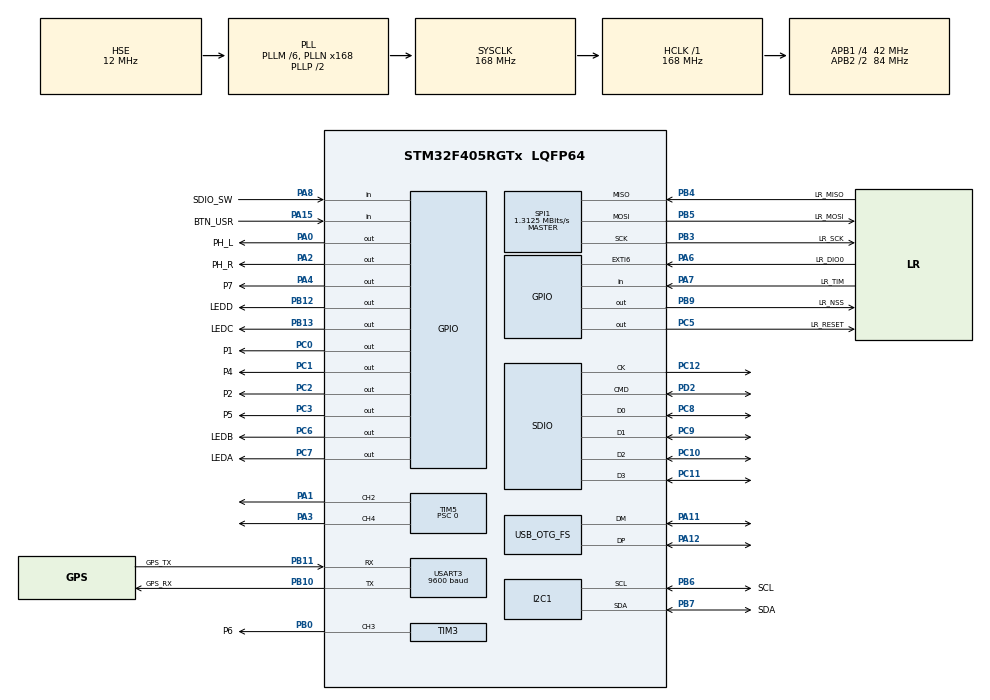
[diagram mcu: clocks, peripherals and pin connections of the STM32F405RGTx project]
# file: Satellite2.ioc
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Dma.Request0=SPI1_RX
Dma.Request1=SPI1_TX
Dma.Request2=SDIO_RX
Dma.Request3=SDIO_TX
Dma.SDIO_RX.2.Direction=DMA_PERIPH_TO_MEMORY
Dma.SDIO_RX.2.FIFOMode=DMA_FIFOMODE_ENABLE
Dma.SDIO_RX.2.FIFOThreshold=DMA_FIFO_THRESHOLD_FULL
Dma.SDIO_RX.2.Instance=DMA2_Stream3
Dma.SDIO_RX.2.MemBurst=DMA_MBURST_INC4
Dma.SDIO_RX.2.MemDataAlignment=DMA_MDATAALIGN_WORD
Dma.SDIO_RX.2.MemInc=DMA_MINC_ENABLE
Dma.SDIO_RX.2.Mode=DMA_PFCTRL
Dma.SDIO_RX.2.PeriphBurst=DMA_PBURST_INC4
Dma.SDIO_RX.2.PeriphDataAlignment=DMA_PDATAALIGN_WORD
Dma.SDIO_RX.2.PeriphInc=DMA_PINC_DISABLE
Dma.SDIO_RX.2.Priority=DMA_PRIORITY_LOW
Dma.SDIO_TX.3.Direction=DMA_MEMORY_TO_PERIPH
Dma.SDIO_TX.3.FIFOMode=DMA_FIFOMODE_ENABLE
Dma.SDIO_TX.3.FIFOThreshold=DMA_FIFO_THRESHOLD_FULL
Dma.SDIO_TX.3.Instance=DMA2_Stream6
Dma.SDIO_TX.3.MemBurst=DMA_MBURST_INC4
Dma.SDIO_TX.3.MemDataAlignment=DMA_MDATAALIGN_WORD
Dma.SDIO_TX.3.MemInc=DMA_MINC_ENABLE
Dma.SDIO_TX.3.Mode=DMA_PFCTRL
Dma.SDIO_TX.3.PeriphBurst=DMA_PBURST_INC4
Dma.SDIO_TX.3.PeriphDataAlignment=DMA_PDATAALIGN_WORD
Dma.SDIO_TX.3.PeriphInc=DMA_PINC_DISABLE
Dma.SDIO_TX.3.Priority=DMA_PRIORITY_LOW
Dma.SPI1_RX.0.Direction=DMA_PERIPH_TO_MEMORY
Dma.SPI1_RX.0.FIFOMode=DMA_FIFOMODE_DISABLE
Dma.SPI1_RX.0.Instance=DMA2_Stream0
Dma.SPI1_RX.0.MemDataAlignment=DMA_MDATAALIGN_BYTE
Dma.SPI1_RX.0.MemInc=DMA_MINC_ENABLE
Dma.SPI1_RX.0.Mode=DMA_NORMAL
Dma.SPI1_RX.0.PeriphDataAlignment=DMA_PDATAALIGN_BYTE
Dma.SPI1_RX.0.PeriphInc=DMA_PINC_DISABLE
Dma.SPI1_RX.0.Priority=DMA_PRIORITY_LOW
Dma.SPI1_TX.1.Direction=DMA_MEMORY_TO_PERIPH
Dma.SPI1_TX.1.FIFOMode=DMA_FIFOMODE_DISABLE
Dma.SPI1_TX.1.Instance=DMA2_Stream5
Dma.SPI1_TX.1.MemDataAlignment=DMA_MDATAALIGN_BYTE
Dma.SPI1_TX.1.MemInc=DMA_MINC_ENABLE
Dma.SPI1_TX.1.Mode=DMA_NORMAL
Dma.SPI1_TX.1.PeriphDataAlignment=DMA_PDATAALIGN_BYTE
Dma.SPI1_TX.1.PeriphInc=DMA_PINC_DISABLE
Dma.SPI1_TX.1.Priority=DMA_PRIORITY_LOW
FATFS.BSP.number=1
FATFS.USE_DMA_CODE_SD=1
FATFS._MAX_SS=4096
FATFS._MIN_SS=512
FATFS._USE_MKFS=1
FATFS0.BSP.STBoard=false
FATFS0.BSP.api=Unknown
FATFS0.BSP.i2caddr=0
FATFS0.BSP.instance=PA8
FATFS0.BSP.ip=GPIO
FATFS0.BSP.mode=Input
FATFS0.BSP.name=Detect_SDIO
FATFS0.BSP.solution=PA8
I2C1.I2C_Mode=I2C_Fast
Mcu.Family=STM32F4
Mcu.Name=STM32F405RGTx
Mcu.Package=LQFP64
NVIC.DMA2_Stream0_IRQn=true\:0\:0\:false\:false\:true\:false\:true
NVIC.DMA2_Stream3_IRQn=true\:0\:0\:false\:false\:true\:false\:true
NVIC.DMA2_Stream5_IRQn=true\:0\:0\:false\:false\:true\:false\:true
NVIC.DMA2_Stream6_IRQn=true\:0\:0\:false\:false\:true\:false\:true
NVIC.EXTI9_5_IRQn=true\:0\:0\:false\:false\:true\:true\:true
NVIC.OTG_FS_IRQn=true\:0\:0\:false\:false\:true\:false\:true
NVIC.PriorityGroup=NVIC_PRIORITYGROUP_4
NVIC.SDIO_IRQn=true\:0\:0\:false\:false\:true\:true\:true
NVIC.SPI1_IRQn=true\:0\:0\:false\:false\:true\:true\:true
PA0-WKUP.GPIO_Label=PH_L
PA0-WKUP.GPIO_PuPd=GPIO_NOPULL
PA0-WKUP.Signal=GPIO_Output
PA1.Signal=S_TIM5_CH2
PA11.Mode=Device_Only
PA11.Signal=USB_OTG_FS_DM
PA12.Mode=Device_Only
PA12.Signal=USB_OTG_FS_DP
PA13.Mode=Serial_Wire
PA13.Signal=SYS_JTMS-SWDIO
PA14.Mode=Serial_Wire
PA14.Signal=SYS_JTCK-SWCLK
PA15.GPIO_Label=BTN_USR
PA15.GPIO_PuPd=GPIO_PULLUP
PA15.Signal=GPIO_Input
PA2.GPIO_Label=PH_R
PA2.GPIO_PuPd=GPIO_NOPULL
PA2.Signal=GPIO_Output
PA3.Signal=S_TIM5_CH4
PA4.GPIO_Label=P7
PA4.Signal=GPIO_Output
PA6.GPIO_Label=LR_DIO0
PA6.GPIO_ModeDefaultEXTI=GPIO_MODE_IT_RISING
PA6.GPIO_PuPd=GPIO_PULLDOWN
PA6.Signal=GPXTI6
PA7.GPIO_Label=LR_TIM
PA7.Signal=GPIO_Input
PA8.GPIO_Label=SDIO_SW
PA8.Signal=GPIO_Input
PB0.GPIO_Label=P6
PB0.Signal=S_TIM3_CH3
PB1.GPIO_Label=P3
PB1.Signal=S_TIM3_CH4
PB10.GPIO_Label=GPS_RX
PB10.Mode=Asynchronous
PB10.Signal=USART3_TX
PB11.GPIO_Label=GPS_TX
PB11.Mode=Asynchronous
PB11.Signal=USART3_RX
PB12.GPIO_Label=LEDD
PB12.GPIO_PuPd=GPIO_PULLDOWN
PB12.Signal=GPIO_Output
PB13.GPIO_Label=LEDC
PB13.GPIO_PuPd=GPIO_PULLDOWN
PB13.Signal=GPIO_Output
PB3.GPIO_Label=LR_SCK
PB3.Mode=Full_Duplex_Master
PB3.Signal=SPI1_SCK
PB4.GPIO_Label=LR_MISO
PB4.Mode=Full_Duplex_Master
PB4.Signal=SPI1_MISO
PB5.GPIO_Label=LR_MOSI
PB5.GPIO_PuPd=GPIO_NOPULL
PB5.Mode=Full_Duplex_Master
PB5.Signal=SPI1_MOSI
PB6.GPIO_Label=SCL
PB6.GPIO_PuPdOD=GPIO_NOPULL
PB6.Mode=I2C
PB6.Signal=I2C1_SCL
PB7.GPIO_Label=SDA
PB7.GPIO_PuPdOD=GPIO_NOPULL
PB7.Mode=I2C
PB7.Signal=I2C1_SDA
PB9.GPIO_Label=LR_NSS
PB9.Signal=GPIO_Output
PC0.GPIO_Label=P1
PC0.Signal=GPIO_Output
PC1.GPIO_Label=P4
PC1.Signal=GPIO_Output
PC10.GPIO_PuPd=GPIO_PULLUP
PC10.Mode=SD_4_bits_Wide_bus
PC10.Signal=SDIO_D2
PC11.Mode=SD_4_bits_Wide_bus
PC11.Signal=SDIO_D3
PC12.GPIO_PuPd=GPIO_NOPULL
PC12.Mode=SD_4_bits_Wide_bus
PC12.Signal=SDIO_CK
PC14-OSC32_IN.Mode=LSE-External-Oscillator
PC14-OSC32_IN.Signal=RCC_OSC32_IN
PC15-OSC32_OUT.Mode=LSE-External-Oscillator
PC15-OSC32_OUT.Signal=RCC_OSC32_OUT
PC2.GPIO_Label=P2
PC2.Signal=GPIO_Output
PC3.GPIO_Label=P5
PC3.Signal=GPIO_Output
PC5.GPIO_Label=LR_RESET
PC5.Signal=GPIO_Output
PC6.GPIO_Label=LEDB
PC6.GPIO_PuPd=GPIO_PULLDOWN
PC6.Signal=GPIO_Output
PC7.GPIO_Label=LEDA
PC7.Signal=GPIO_Output
PC8.GPIO_PuPd=GPIO_PULLUP
PC8.Mode=SD_4_bits_Wide_bus
PC8.Signal=SDIO_D0
PC9.GPIO_PuPd=GPIO_PULLUP
PC9.Mode=SD_4_bits_Wide_bus
PC9.Signal=SDIO_D1
PD2.GPIO_PuPd=GPIO_PULLUP
PD2.Mode=SD_4_bits_Wide_bus
PD2.Signal=SDIO_CMD
PH0-OSC_IN.Mode=HSE-External-Oscillator
PH0-OSC_IN.Signal=RCC_OSC_IN
PH1-OSC_OUT.Mode=HSE-External-Oscillator
PH1-OSC_OUT.Signal=RCC_OSC_OUT
ProjectManager.HeapSize=0x200
ProjectManager.StackSize=0x400
ProjectManager.TargetToolchain=STM32CubeIDE
RCC.48MHZClocksFreq_Value=48000000
RCC.AHBFreq_Value=168000000
RCC.APB1CLKDivider=RCC_HCLK_DIV4
RCC.APB1Freq_Value=42000000
RCC.APB1TimFreq_Value=84000000
RCC.APB2CLKDivider=RCC_HCLK_DIV2
RCC.APB2Freq_Value=84000000
RCC.APB2TimFreq_Value=168000000
RCC.CortexFreq_Value=168000000
RCC.HCLKFreq_Value=168000000
RCC.HSE_VALUE=12000000
RCC.HSI_VALUE=16000000
RCC.PLLM=6
RCC.PLLN=168
RCC.PLLQ=7
RCC.RCC_RTC_Clock_Source=RCC_RTCCLKSOURCE_LSE
RCC.RCC_RTC_Clock_SourceVirtual=RCC_RTCCLKSOURCE_LSE
RCC.SYSCLKFreq_VALUE=168000000
RCC.SYSCLKSource=RCC_SYSCLKSOURCE_PLLCLK
RCC.VCOOutputFreq_Value=336000000
SH.S_TIM3_CH3.0=TIM3_CH3,PWM Generation3 CH3
SH.S_TIM3_CH4.0=TIM3_CH4
SH.S_TIM5_CH2.0=TIM5_CH2,PWM Generation2 CH2
SH.S_TIM5_CH4.0=TIM5_CH4,PWM Generation4 CH4
SPI1.BaudRatePrescaler=SPI_BAUDRATEPRESCALER_64
SPI1.CalculateBaudRate=1.3125 MBits/s
SPI1.Direction=SPI_DIRECTION_2LINES
SPI1.Mode=SPI_MODE_MASTER
SPI1.VirtualType=VM_MASTER
TIM1.Period=65535
TIM1.Prescaler=16799
TIM2.ClockDivision=TIM_CLOCKDIVISION_DIV1
TIM2.CounterMode=TIM_COUNTERMODE_UP
TIM2.Period=4200000000
TIM2.Prescaler=83
TIM3.Channel-PWM\ Generation3\ CH3=TIM_CHANNEL_3
TIM3.Period=10000
TIM3.Prescaler=167
TIM3.Pulse-PWM\ Generation3\ CH3=0
TIM4.Period=1024
TIM4.Prescaler=0
TIM5.Channel-PWM\ Generation2\ CH2=TIM_CHANNEL_2
TIM5.Channel-PWM\ Generation4\ CH4=TIM_CHANNEL_4
TIM5.CounterMode=TIM_COUNTERMODE_CENTERALIGNED2
TIM5.OCMode_PWM-PWM\ Generation2\ CH2=TIM_OCMODE_PWM2
TIM5.OCMode_PWM-PWM\ Generation4\ CH4=TIM_OCMODE_PWM2
TIM5.Period=1024
TIM5.Prescaler=0
USART3.BaudRate=9600
USART3.VirtualMode=VM_ASYNC
USB_DEVICE.CLASS_NAME_FS=CDC
USB_DEVICE.PRODUCT_STRING_CDC_FS=Czopolot1
USB_DEVICE.VirtualMode-CDC_FS=Cdc
USB_DEVICE.VirtualModeFS=Cdc_FS
USB_OTG_FS.VirtualMode=Device_Only
VP_FATFS_VS_SDIO.Mode=SDIO
VP_RTC_VS_RTC_Activate.Mode=RTC_Enabled
VP_TIM1_VS_ClockSourceINT.Mode=Internal
VP_TIM2_VS_ClockSourceINT.Mode=Internal
VP_TIM3_VS_ClockSourceINT.Mode=Internal
VP_TIM4_VS_ClockSourceINT.Mode=Internal
VP_TIM5_VS_ClockSourceINT.Mode=Internal
VP_USB_DEVICE_VS_USB_DEVICE_CDC_FS.Mode=CDC_FS
board=custom

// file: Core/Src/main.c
/* USER CODE BEGIN Header */
/**
  ******************************************************************************
  * @file           : main.c
  * @brief          : Main program body
  ******************************************************************************
  * @attention
  *
  * <h2><center>&copy; Copyright (c) 2020 STMicroelectronics.
  * All rights reserved.</center></h2>
  *
  * This software component is licensed by ST under Ultimate Liberty license
  * SLA0044, the "License"; You may not use this file except in compliance with
  * the License. You may obtain a copy of the License at:
  *                             www.st.com/SLA0044
  *
  ******************************************************************************
  */
/* USER CODE END Header */

#include "main.h"
#include "fatfs.h"
#include "usb_device.h"

/* USER CODE BEGIN Includes */
#include "run.c"
#include "motors.c"
/* USER CODE END Includes */

I2C_HandleTypeDef hi2c1;

RTC_HandleTypeDef hrtc;

SD_HandleTypeDef hsd;
DMA_HandleTypeDef hdma_sdio_rx;
DMA_HandleTypeDef hdma_sdio_tx;

SPI_HandleTypeDef hspi1;
DMA_HandleTypeDef hdma_spi1_rx;
DMA_HandleTypeDef hdma_spi1_tx;

TIM_HandleTypeDef htim1;
TIM_HandleTypeDef htim2;
TIM_HandleTypeDef htim3;
TIM_HandleTypeDef htim4;
TIM_HandleTypeDef htim5;

UART_HandleTypeDef huart3;

void SystemClock_Config(void);
static void MX_GPIO_Init(void);
static void MX_DMA_Init(void);
static void MX_SDIO_SD_Init(void);
static void MX_I2C1_Init(void);
static void MX_SPI1_Init(void);
static void MX_USART3_UART_Init(void);
static void MX_RTC_Init(void);
static void MX_TIM2_Init(void);
static void MX_TIM5_Init(void);
static void MX_TIM4_Init(void);
static void MX_TIM1_Init(void);
static void MX_TIM3_Init(void);

int main(void)
{

  /* MCU Configuration--------------------------------------------------------*/

  /* Reset of all peripherals, Initializes the Flash interface and the Systick. */
  HAL_Init();

  /* Configure the system clock */
  SystemClock_Config();

  /* Initialize all configured peripherals */
  MX_GPIO_Init();
  MX_DMA_Init();
  MX_SDIO_SD_Init();
  MX_FATFS_Init();
  MX_I2C1_Init();
  MX_USB_DEVICE_Init();
  MX_SPI1_Init();
  MX_USART3_UART_Init();
  MX_RTC_Init();
  MX_TIM2_Init();
  MX_TIM5_Init();
  MX_TIM4_Init();
  MX_TIM1_Init();
  MX_TIM3_Init();
  /* USER CODE BEGIN 2 */

  // Start millisecond timer
  HAL_TIM_Base_Start(&htim2);

  // Setup pins
  HAL_GPIO_WritePin(LEDA_GPIO_Port, LEDA_Pin, GPIO_PIN_RESET);
  HAL_GPIO_WritePin(LEDB_GPIO_Port, LEDB_Pin, GPIO_PIN_RESET);
  HAL_GPIO_WritePin(LEDC_GPIO_Port, LEDC_Pin, GPIO_PIN_RESET);
  HAL_GPIO_WritePin(LEDD_GPIO_Port, LEDD_Pin, GPIO_PIN_RESET);
  HAL_GPIO_WritePin(PH_L_GPIO_Port, PH_L_Pin, GPIO_PIN_RESET);
  HAL_GPIO_WritePin(PH_R_GPIO_Port, PH_R_Pin, GPIO_PIN_RESET);
  //HAL_GPIO_WritePin(EN_L_GPIO_Port, EN_L_Pin, GPIO_PIN_RESET);
  //HAL_GPIO_WritePin(EN_R_GPIO_Port, EN_R_Pin, GPIO_PIN_RESET);
  HAL_GPIO_WritePin(P1_GPIO_Port, P1_Pin, GPIO_PIN_RESET);
  HAL_GPIO_WritePin(P2_GPIO_Port, P2_Pin, GPIO_PIN_RESET);
  //HAL_GPIO_WritePin(P3_GPIO_Port, P3_Pin, GPIO_PIN_RESET);
  HAL_GPIO_WritePin(P4_GPIO_Port, P4_Pin, GPIO_PIN_RESET);
  HAL_GPIO_WritePin(P5_GPIO_Port, P5_Pin, GPIO_PIN_SET);
  //HAL_GPIO_WritePin(P6_GPIO_Port, P6_Pin, GPIO_PIN_RESET);
  HAL_GPIO_WritePin(P7_GPIO_Port, P7_Pin, GPIO_PIN_RESET);

  // Execute code
  setup();

  // Start motor timeout interrupt timer
  HAL_TIM_Base_Start_IT(&htim4);

  /* USER CODE END 2 */

  /* Infinite loop */
  while (1)
  {

    /* USER CODE BEGIN 3 */

	// Execute code
	loop();
  }
  /* USER CODE END 3 */
}

void SystemClock_Config(void)
{
  RCC_OscInitTypeDef RCC_OscInitStruct = {0};
  RCC_ClkInitTypeDef RCC_ClkInitStruct = {0};
  RCC_PeriphCLKInitTypeDef PeriphClkInitStruct = {0};

  /** Configure the main internal regulator output voltage
  */
  __HAL_RCC_PWR_CLK_ENABLE();
  __HAL_PWR_VOLTAGESCALING_CONFIG(PWR_REGULATOR_VOLTAGE_SCALE1);
  /** Initializes the CPU, AHB and APB busses clocks
  */
  RCC_OscInitStruct.OscillatorType = RCC_OSCILLATORTYPE_HSE|RCC_OSCILLATORTYPE_LSE;
  RCC_OscInitStruct.HSEState = RCC_HSE_ON;
  RCC_OscInitStruct.LSEState = RCC_LSE_ON;
  RCC_OscInitStruct.PLL.PLLState = RCC_PLL_ON;
  RCC_OscInitStruct.PLL.PLLSource = RCC_PLLSOURCE_HSE;
  RCC_OscInitStruct.PLL.PLLM = 6;
  RCC_OscInitStruct.PLL.PLLN = 168;
  RCC_OscInitStruct.PLL.PLLP = RCC_PLLP_DIV2;
  RCC_OscInitStruct.PLL.PLLQ = 7;
  if (HAL_RCC_OscConfig(&RCC_OscInitStruct) != HAL_OK)
  {
    Error_Handler();
  }
  /** Initializes the CPU, AHB and APB busses clocks
  */
  RCC_ClkInitStruct.ClockType = RCC_CLOCKTYPE_HCLK|RCC_CLOCKTYPE_SYSCLK
                              |RCC_CLOCKTYPE_PCLK1|RCC_CLOCKTYPE_PCLK2;
  RCC_ClkInitStruct.SYSCLKSource = RCC_SYSCLKSOURCE_PLLCLK;
  RCC_ClkInitStruct.AHBCLKDivider = RCC_SYSCLK_DIV1;
  RCC_ClkInitStruct.APB1CLKDivider = RCC_HCLK_DIV4;
  RCC_ClkInitStruct.APB2CLKDivider = RCC_HCLK_DIV2;

  if (HAL_RCC_ClockConfig(&RCC_ClkInitStruct, FLASH_LATENCY_5) != HAL_OK)
  {
    Error_Handler();
  }
  PeriphClkInitStruct.PeriphClockSelection = RCC_PERIPHCLK_RTC;
  PeriphClkInitStruct.RTCClockSelection = RCC_RTCCLKSOURCE_LSE;
  if (HAL_RCCEx_PeriphCLKConfig(&PeriphClkInitStruct) != HAL_OK)
  {
    Error_Handler();
  }
}

static void MX_I2C1_Init(void)
{

  hi2c1.Instance = I2C1;
  hi2c1.Init.ClockSpeed = 400000;
  hi2c1.Init.DutyCycle = I2C_DUTYCYCLE_2;
  hi2c1.Init.OwnAddress1 = 0;
  hi2c1.Init.AddressingMode = I2C_ADDRESSINGMODE_7BIT;
  hi2c1.Init.DualAddressMode = I2C_DUALADDRESS_DISABLE;
  hi2c1.Init.OwnAddress2 = 0;
  hi2c1.Init.GeneralCallMode = I2C_GENERALCALL_DISABLE;
  hi2c1.Init.NoStretchMode = I2C_NOSTRETCH_DISABLE;
  if (HAL_I2C_Init(&hi2c1) != HAL_OK)
  {
    Error_Handler();
  }

}

static void MX_RTC_Init(void)
{

  /** Initialize RTC Only
  */
  hrtc.Instance = RTC;
  hrtc.Init.HourFormat = RTC_HOURFORMAT_24;
  hrtc.Init.AsynchPrediv = 127;
  hrtc.Init.SynchPrediv = 255;
  hrtc.Init.OutPut = RTC_OUTPUT_DISABLE;
  hrtc.Init.OutPutPolarity = RTC_OUTPUT_POLARITY_HIGH;
  hrtc.Init.OutPutType = RTC_OUTPUT_TYPE_OPENDRAIN;
  if (HAL_RTC_Init(&hrtc) != HAL_OK)
  {
    Error_Handler();
  }

}

static void MX_SDIO_SD_Init(void)
{

  hsd.Instance = SDIO;
  hsd.Init.ClockEdge = SDIO_CLOCK_EDGE_RISING;
  hsd.Init.ClockBypass = SDIO_CLOCK_BYPASS_DISABLE;
  hsd.Init.ClockPowerSave = SDIO_CLOCK_POWER_SAVE_DISABLE;
  hsd.Init.BusWide = SDIO_BUS_WIDE_1B;
  hsd.Init.HardwareFlowControl = SDIO_HARDWARE_FLOW_CONTROL_DISABLE;
  hsd.Init.ClockDiv = 0;

}

static void MX_SPI1_Init(void)
{

  /* SPI1 parameter configuration*/
  hspi1.Instance = SPI1;
  hspi1.Init.Mode = SPI_MODE_MASTER;
  hspi1.Init.Direction = SPI_DIRECTION_2LINES;
  hspi1.Init.DataSize = SPI_DATASIZE_8BIT;
  hspi1.Init.CLKPolarity = SPI_POLARITY_LOW;
  hspi1.Init.CLKPhase = SPI_PHASE_1EDGE;
  hspi1.Init.NSS = SPI_NSS_SOFT;
  hspi1.Init.BaudRatePrescaler = SPI_BAUDRATEPRESCALER_64;
  hspi1.Init.FirstBit = SPI_FIRSTBIT_MSB;
  hspi1.Init.TIMode = SPI_TIMODE_DISABLE;
  hspi1.Init.CRCCalculation = SPI_CRCCALCULATION_DISABLE;
  hspi1.Init.CRCPolynomial = 10;
  if (HAL_SPI_Init(&hspi1) != HAL_OK)
  {
    Error_Handler();
  }

}

static void MX_TIM1_Init(void)
{

  TIM_ClockConfigTypeDef sClockSourceConfig = {0};
  TIM_MasterConfigTypeDef sMasterConfig = {0};

  htim1.Instance = TIM1;
  htim1.Init.Prescaler = 16799;
  htim1.Init.CounterMode = TIM_COUNTERMODE_UP;
  htim1.Init.Period = 65535;
  htim1.Init.ClockDivision = TIM_CLOCKDIVISION_DIV1;
  htim1.Init.RepetitionCounter = 0;
  htim1.Init.AutoReloadPreload = TIM_AUTORELOAD_PRELOAD_DISABLE;
  if (HAL_TIM_Base_Init(&htim1) != HAL_OK)
  {
    Error_Handler();
  }
  sClockSourceConfig.ClockSource = TIM_CLOCKSOURCE_INTERNAL;
  if (HAL_TIM_ConfigClockSource(&htim1, &sClockSourceConfig) != HAL_OK)
  {
    Error_Handler();
  }
  sMasterConfig.MasterOutputTrigger = TIM_TRGO_RESET;
  sMasterConfig.MasterSlaveMode = TIM_MASTERSLAVEMODE_DISABLE;
  if (HAL_TIMEx_MasterConfigSynchronization(&htim1, &sMasterConfig) != HAL_OK)
  {
    Error_Handler();
  }

}

static void MX_TIM2_Init(void)
{

  TIM_ClockConfigTypeDef sClockSourceConfig = {0};
  TIM_MasterConfigTypeDef sMasterConfig = {0};

  htim2.Instance = TIM2;
  htim2.Init.Prescaler = 83;
  htim2.Init.CounterMode = TIM_COUNTERMODE_UP;
  htim2.Init.Period = 4200000000;
  htim2.Init.ClockDivision = TIM_CLOCKDIVISION_DIV1;
  htim2.Init.AutoReloadPreload = TIM_AUTORELOAD_PRELOAD_DISABLE;
  if (HAL_TIM_Base_Init(&htim2) != HAL_OK)
  {
    Error_Handler();
  }
  sClockSourceConfig.ClockSource = TIM_CLOCKSOURCE_INTERNAL;
  if (HAL_TIM_ConfigClockSource(&htim2, &sClockSourceConfig) != HAL_OK)
  {
    Error_Handler();
  }
  sMasterConfig.MasterOutputTrigger = TIM_TRGO_RESET;
  sMasterConfig.MasterSlaveMode = TIM_MASTERSLAVEMODE_DISABLE;
  if (HAL_TIMEx_MasterConfigSynchronization(&htim2, &sMasterConfig) != HAL_OK)
  {
    Error_Handler();
  }

}

static void MX_TIM3_Init(void)
{

  TIM_ClockConfigTypeDef sClockSourceConfig = {0};
  TIM_MasterConfigTypeDef sMasterConfig = {0};
  TIM_OC_InitTypeDef sConfigOC = {0};

  htim3.Instance = TIM3;
  htim3.Init.Prescaler = 167;
  htim3.Init.CounterMode = TIM_COUNTERMODE_UP;
  htim3.Init.Period = 10000;
  htim3.Init.ClockDivision = TIM_CLOCKDIVISION_DIV1;
  htim3.Init.AutoReloadPreload = TIM_AUTORELOAD_PRELOAD_DISABLE;
  if (HAL_TIM_Base_Init(&htim3) != HAL_OK)
  {
    Error_Handler();
  }
  sClockSourceConfig.ClockSource = TIM_CLOCKSOURCE_INTERNAL;
  if (HAL_TIM_ConfigClockSource(&htim3, &sClockSourceConfig) != HAL_OK)
  {
    Error_Handler();
  }
  if (HAL_TIM_PWM_Init(&htim3) != HAL_OK)
  {
    Error_Handler();
  }
  sMasterConfig.MasterOutputTrigger = TIM_TRGO_RESET;
  sMasterConfig.MasterSlaveMode = TIM_MASTERSLAVEMODE_DISABLE;
  if (HAL_TIMEx_MasterConfigSynchronization(&htim3, &sMasterConfig) != HAL_OK)
  {
    Error_Handler();
  }
  sConfigOC.OCMode = TIM_OCMODE_PWM1;
  sConfigOC.Pulse = 0;
  sConfigOC.OCPolarity = TIM_OCPOLARITY_HIGH;
  sConfigOC.OCFastMode = TIM_OCFAST_DISABLE;
  if (HAL_TIM_PWM_ConfigChannel(&htim3, &sConfigOC, TIM_CHANNEL_3) != HAL_OK)
  {
    Error_Handler();
  }
  HAL_TIM_MspPostInit(&htim3);

}

static void MX_TIM4_Init(void)
{

  TIM_ClockConfigTypeDef sClockSourceConfig = {0};
  TIM_MasterConfigTypeDef sMasterConfig = {0};

  htim4.Instance = TIM4;
  htim4.Init.Prescaler = 0;
  htim4.Init.CounterMode = TIM_COUNTERMODE_UP;
  htim4.Init.Period = 1024;
  htim4.Init.ClockDivision = TIM_CLOCKDIVISION_DIV1;
  htim4.Init.AutoReloadPreload = TIM_AUTORELOAD_PRELOAD_DISABLE;
  if (HAL_TIM_Base_Init(&htim4) != HAL_OK)
  {
    Error_Handler();
  }
  sClockSourceConfig.ClockSource = TIM_CLOCKSOURCE_INTERNAL;
  if (HAL_TIM_ConfigClockSource(&htim4, &sClockSourceConfig) != HAL_OK)
  {
    Error_Handler();
  }
  sMasterConfig.MasterOutputTrigger = TIM_TRGO_RESET;
  sMasterConfig.MasterSlaveMode = TIM_MASTERSLAVEMODE_DISABLE;
  if (HAL_TIMEx_MasterConfigSynchronization(&htim4, &sMasterConfig) != HAL_OK)
  {
    Error_Handler();
  }

}

static void MX_TIM5_Init(void)
{

  TIM_ClockConfigTypeDef sClockSourceConfig = {0};
  TIM_MasterConfigTypeDef sMasterConfig = {0};
  TIM_OC_InitTypeDef sConfigOC = {0};

  htim5.Instance = TIM5;
  htim5.Init.Prescaler = 0;
  htim5.Init.CounterMode = TIM_COUNTERMODE_CENTERALIGNED2;
  htim5.Init.Period = 1024;
  htim5.Init.ClockDivision = TIM_CLOCKDIVISION_DIV1;
  htim5.Init.AutoReloadPreload = TIM_AUTORELOAD_PRELOAD_DISABLE;
  if (HAL_TIM_Base_Init(&htim5) != HAL_OK)
  {
    Error_Handler();
  }
  sClockSourceConfig.ClockSource = TIM_CLOCKSOURCE_INTERNAL;
  if (HAL_TIM_ConfigClockSource(&htim5, &sClockSourceConfig) != HAL_OK)
  {
    Error_Handler();
  }
  if (HAL_TIM_PWM_Init(&htim5) != HAL_OK)
  {
    Error_Handler();
  }
  sMasterConfig.MasterOutputTrigger = TIM_TRGO_RESET;
  sMasterConfig.MasterSlaveMode = TIM_MASTERSLAVEMODE_DISABLE;
  if (HAL_TIMEx_MasterConfigSynchronization(&htim5, &sMasterConfig) != HAL_OK)
  {
    Error_Handler();
  }
  sConfigOC.OCMode = TIM_OCMODE_PWM2;
  sConfigOC.Pulse = 0;
  sConfigOC.OCPolarity = TIM_OCPOLARITY_HIGH;
  sConfigOC.OCFastMode = TIM_OCFAST_DISABLE;
  if (HAL_TIM_PWM_ConfigChannel(&htim5, &sConfigOC, TIM_CHANNEL_2) != HAL_OK)
  {
    Error_Handler();
  }
  if (HAL_TIM_PWM_ConfigChannel(&htim5, &sConfigOC, TIM_CHANNEL_4) != HAL_OK)
  {
    Error_Handler();
  }
  HAL_TIM_MspPostInit(&htim5);

}

static void MX_USART3_UART_Init(void)
{

  huart3.Instance = USART3;
  huart3.Init.BaudRate = 9600;
  huart3.Init.WordLength = UART_WORDLENGTH_8B;
  huart3.Init.StopBits = UART_STOPBITS_1;
  huart3.Init.Parity = UART_PARITY_NONE;
  huart3.Init.Mode = UART_MODE_TX_RX;
  huart3.Init.HwFlowCtl = UART_HWCONTROL_NONE;
  huart3.Init.OverSampling = UART_OVERSAMPLING_16;
  if (HAL_UART_Init(&huart3) != HAL_OK)
  {
    Error_Handler();
  }

}

static void MX_DMA_Init(void)
{

  /* DMA controller clock enable */
  __HAL_RCC_DMA2_CLK_ENABLE();

  /* DMA interrupt init */
  /* DMA2_Stream0_IRQn interrupt configuration */
  HAL_NVIC_SetPriority(DMA2_Stream0_IRQn, 0, 0);
  HAL_NVIC_EnableIRQ(DMA2_Stream0_IRQn);
  /* DMA2_Stream3_IRQn interrupt configuration */
  HAL_NVIC_SetPriority(DMA2_Stream3_IRQn, 0, 0);
  HAL_NVIC_EnableIRQ(DMA2_Stream3_IRQn);
  /* DMA2_Stream5_IRQn interrupt configuration */
  HAL_NVIC_SetPriority(DMA2_Stream5_IRQn, 0, 0);
  HAL_NVIC_EnableIRQ(DMA2_Stream5_IRQn);
  /* DMA2_Stream6_IRQn interrupt configuration */
  HAL_NVIC_SetPriority(DMA2_Stream6_IRQn, 0, 0);
  HAL_NVIC_EnableIRQ(DMA2_Stream6_IRQn);

}

static void MX_GPIO_Init(void)
{
  GPIO_InitTypeDef GPIO_InitStruct = {0};

  /* GPIO Ports Clock Enable */
  __HAL_RCC_GPIOC_CLK_ENABLE();
  __HAL_RCC_GPIOH_CLK_ENABLE();
  __HAL_RCC_GPIOA_CLK_ENABLE();
  __HAL_RCC_GPIOB_CLK_ENABLE();
  __HAL_RCC_GPIOD_CLK_ENABLE();

  /*Configure GPIO pin Output Level */
  HAL_GPIO_WritePin(GPIOC, P1_Pin|P4_Pin|P2_Pin|P5_Pin
                          |LR_RESET_Pin|LEDB_Pin|LEDA_Pin, GPIO_PIN_RESET);

  /*Configure GPIO pin Output Level */
  HAL_GPIO_WritePin(GPIOA, PH_L_Pin|PH_R_Pin|P7_Pin, GPIO_PIN_RESET);

  /*Configure GPIO pin Output Level */
  HAL_GPIO_WritePin(GPIOB, LEDD_Pin|LEDC_Pin|LR_NSS_Pin, GPIO_PIN_RESET);

  /*Configure GPIO pins : P1_Pin P4_Pin P2_Pin P5_Pin
                           LR_RESET_Pin LEDA_Pin */
  GPIO_InitStruct.Pin = P1_Pin|P4_Pin|P2_Pin|P5_Pin
                          |LR_RESET_Pin|LEDA_Pin;
  GPIO_InitStruct.Mode = GPIO_MODE_OUTPUT_PP;
  GPIO_InitStruct.Pull = GPIO_NOPULL;
  GPIO_InitStruct.Speed = GPIO_SPEED_FREQ_LOW;
  HAL_GPIO_Init(GPIOC, &GPIO_InitStruct);

  /*Configure GPIO pins : PH_L_Pin PH_R_Pin P7_Pin */
  GPIO_InitStruct.Pin = PH_L_Pin|PH_R_Pin|P7_Pin;
  GPIO_InitStruct.Mode = GPIO_MODE_OUTPUT_PP;
  GPIO_InitStruct.Pull = GPIO_NOPULL;
  GPIO_InitStruct.Speed = GPIO_SPEED_FREQ_LOW;
  HAL_GPIO_Init(GPIOA, &GPIO_InitStruct);

  /*Configure GPIO pin : LR_DIO0_Pin */
  GPIO_InitStruct.Pin = LR_DIO0_Pin;
  GPIO_InitStruct.Mode = GPIO_MODE_IT_RISING;
  GPIO_InitStruct.Pull = GPIO_PULLDOWN;
  HAL_GPIO_Init(LR_DIO0_GPIO_Port, &GPIO_InitStruct);

  /*Configure GPIO pins : LR_TIM_Pin SDIO_SW_Pin */
  GPIO_InitStruct.Pin = LR_TIM_Pin|SDIO_SW_Pin;
  GPIO_InitStruct.Mode = GPIO_MODE_INPUT;
  GPIO_InitStruct.Pull = GPIO_NOPULL;
  HAL_GPIO_Init(GPIOA, &GPIO_InitStruct);

  /*Configure GPIO pins : LEDD_Pin LEDC_Pin */
  GPIO_InitStruct.Pin = LEDD_Pin|LEDC_Pin;
  GPIO_InitStruct.Mode = GPIO_MODE_OUTPUT_PP;
  GPIO_InitStruct.Pull = GPIO_PULLDOWN;
  GPIO_InitStruct.Speed = GPIO_SPEED_FREQ_LOW;
  HAL_GPIO_Init(GPIOB, &GPIO_InitStruct);

  /*Configure GPIO pin : LEDB_Pin */
  GPIO_InitStruct.Pin = LEDB_Pin;
  GPIO_InitStruct.Mode = GPIO_MODE_OUTPUT_PP;
  GPIO_InitStruct.Pull = GPIO_PULLDOWN;
  GPIO_InitStruct.Speed = GPIO_SPEED_FREQ_LOW;
  HAL_GPIO_Init(LEDB_GPIO_Port, &GPIO_InitStruct);

  /*Configure GPIO pin : BTN_USR_Pin */
  GPIO_InitStruct.Pin = BTN_USR_Pin;
  GPIO_InitStruct.Mode = GPIO_MODE_INPUT;
  GPIO_InitStruct.Pull = GPIO_PULLUP;
  HAL_GPIO_Init(BTN_USR_GPIO_Port, &GPIO_InitStruct);

  /*Configure GPIO pin : LR_NSS_Pin */
  GPIO_InitStruct.Pin = LR_NSS_Pin;
  GPIO_InitStruct.Mode = GPIO_MODE_OUTPUT_PP;
  GPIO_InitStruct.Pull = GPIO_NOPULL;
  GPIO_InitStruct.Speed = GPIO_SPEED_FREQ_LOW;
  HAL_GPIO_Init(LR_NSS_GPIO_Port, &GPIO_InitStruct);

  /* EXTI interrupt init*/
  HAL_NVIC_SetPriority(EXTI9_5_IRQn, 0, 0);
  HAL_NVIC_EnableIRQ(EXTI9_5_IRQn);

}

/* USER CODE BEGIN 4 */

I2C_HandleTypeDef* Get_I2C1_Instance(void) { return &hi2c1; }
SPI_HandleTypeDef* Get_SPI1_Instance(void) { return &hspi1; }
UART_HandleTypeDef* Get_UART3_Instance(void) { return &huart3; }
RTC_HandleTypeDef* Get_RTC_Instance(void) { return &hrtc; }
TIM_HandleTypeDef* Get_TIM2_Instance(void) { return &htim2; }
TIM_HandleTypeDef* Get_TIM3_Instance(void) { return &htim3; }
TIM_HandleTypeDef* Get_TIM5_Instance(void) { return &htim5; }

/*
void HAL_GPIO_EXTI_Callback(uint16_t GPIO_Pin)
{
	//DIO0 Interrupt function
	if (GPIO_Pin == LR_DIO0_Pin)
	{
		dio0_IRQ();
	}
}
*/

void HAL_TIM_PeriodElapsedCallback(TIM_HandleTypeDef* htim)
{
	println("Interrupt received");
	// motor interrupt in on TIM4
	if (htim->Instance == TIM4)
	{
		motorTimeout();
	}

}

/* USER CODE END 4 */

void Error_Handler(void)
{
}

/************************ (C) COPYRIGHT STMicroelectronics *****END OF FILE****/
